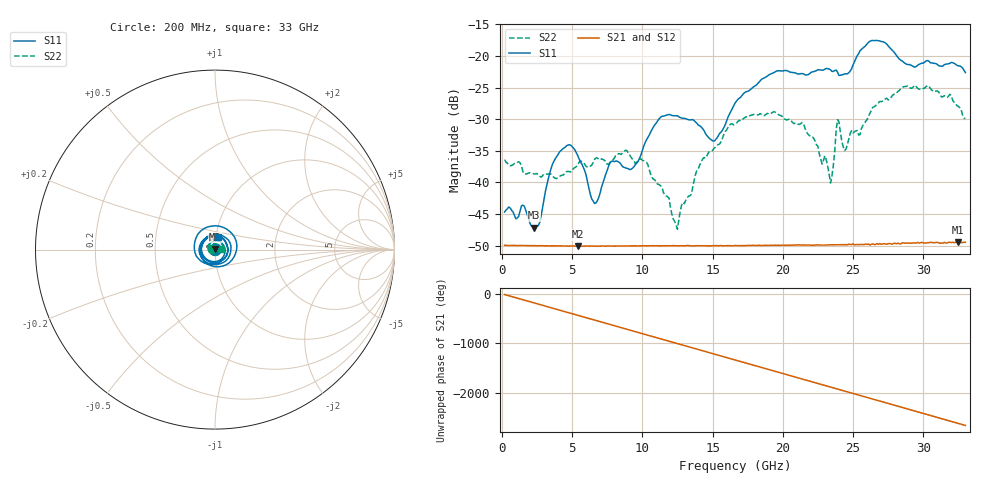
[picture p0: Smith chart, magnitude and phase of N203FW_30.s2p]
# GHZ S RI R 50
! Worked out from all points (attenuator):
!   329 points, 200 MHz to 33 GHz, reference 50 ohm
!   highest |S21| = -49.45 dB at 32.5 GHz (marker M1); lowest = -50.1 dB at 5.4 GHz (marker M2)
!   lowest |S11| = -47.1 dB at 2.3 GHz (marker M3), VSWR 1.01, Z = 50.1 + j0.418 ohm
!   |S11| at or under -10 dB: start of sweep to end of sweep
!   |S22| runs from -47.4 to -24.6 dB; largest |S21 - S12| = 8.8e-05
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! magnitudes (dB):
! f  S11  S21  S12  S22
! 200 MHz  -44.7  -50.0  -49.9  -36.4
! 2.3 GHz  -47.1  -50.0  -50.0  -38.7
! 3.8 GHz  -36.3  -50.0  -50.0  -39.3
! 5.4 GHz  -35.7  -50.1  -50.0  -37.3
! 5.7 GHz  -37.1  -50.1  -50.1  -36.7
! 6.7 GHz  -43.3  -50.1  -50.0  -36.1
! 7.7 GHz  -36.9  -50.1  -50.1  -36.9
! 9.3 GHz  -37.8  -50.0  -50.0  -36.3
! 11.2 GHz  -29.9  -50.0  -50.0  -40.3
! 12.5 GHz  -29.5  -50.0  -50.0  -47.4
! 15.1 GHz  -33.5  -50.0  -50.0  -34.6
! 16.6 GHz  -27.5  -50.0  -50.0  -30.8
! 19.4 GHz  -22.6  -50.0  -49.9  -28.8
! 22.1 GHz  -22.5  -49.9  -49.9  -32.8
! 23.4 GHz  -22.2  -49.9  -49.9  -40.1
! 23.9 GHz  -22.6  -49.9  -49.9  -30.1
! 24.4 GHz  -22.8  -49.9  -49.8  -35.0
! 26.2 GHz  -17.7  -49.9  -49.8  -29.1
! 27.6 GHz  -18.7  -49.7  -49.7  -26.9
! 30.3 GHz  -20.7  -49.5  -49.6  -24.7
! 32.5 GHz  -21.6  -49.4  -49.4  -28.0
! 33 GHz  -22.6  -49.5  -49.5  -29.9
